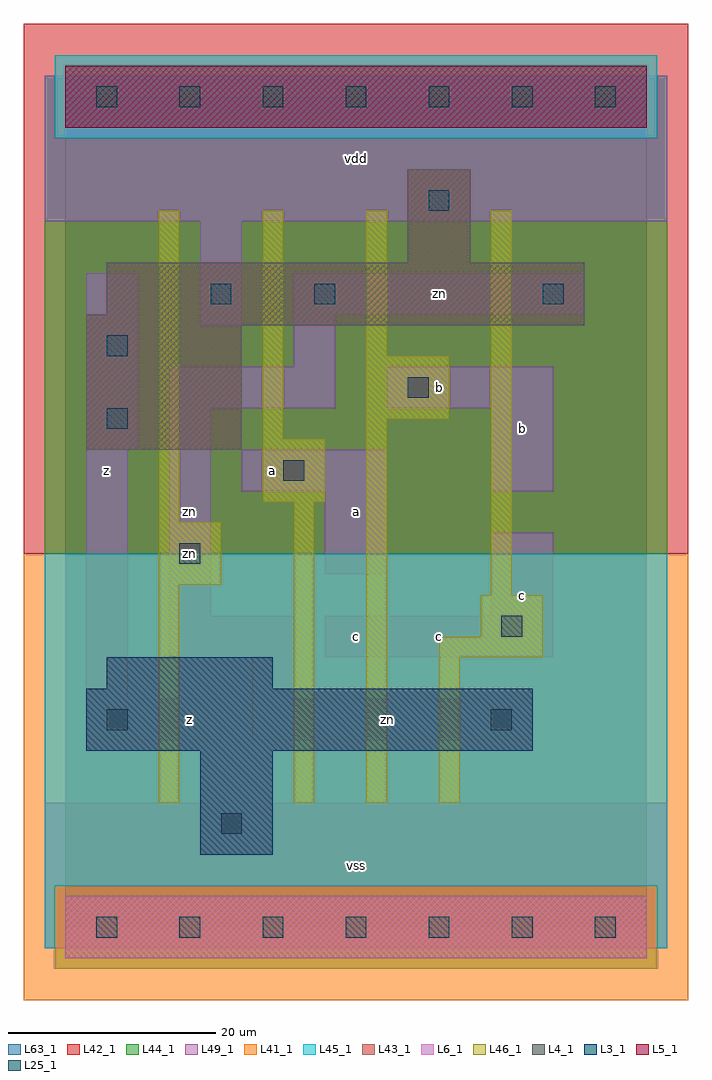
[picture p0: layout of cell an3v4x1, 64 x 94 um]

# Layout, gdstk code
import gdstk
lib = gdstk.Library(unit=1e-6, precision=1e-09)
def R(c, l, rs):  # rectangles x0, y0, x1, y1
    for r in rs: c.add(gdstk.rectangle(r[:2], r[2:], *l))
def A(c, l, x, y, w, h, nx, ny, dx, dy):  # array of equal rectangles
    R(c, l, [(x+i*dx, y+j*dy, x+i*dx+w, y+j*dy+h) for i in range(nx) for j in range(ny)])
L3_1 = (3, 1)
L4_1 = (4, 1)
L5_1 = (5, 1)
L6_1 = (6, 1)
L25_1 = (25, 1)
L41_1 = (41, 1)
L42_1 = (42, 1)
L43_1 = (43, 1)
L44_1 = (44, 1)
L45_1 = (45, 1)
L46_1 = (46, 1)
L49_1 = (49, 1)
L63_1 = (63, 1)

an3v4x1 = lib.new_cell('an3v4x1')
R(an3v4x1, L3_1, [(13,7,20,17), (2,17,45,23), (4,23,20,26)])
R(an3v4x1, L4_1, [(2,46,17,58), (2,58,50,59), (4,59,50,64), (33,64,39,73)])
R(an3v4x1, L5_1, [(0,77,56,83)])
R(an3v4x1, L6_1, [(0,-3,56,3), (0,-3,56,3)])
A(an3v4x1, L25_1, 3, -1, 2, 2, 7, 2, 8, 80)
R(an3v4x1, L25_1, [(15,9,17,11), (4,19,6,21), (41,19,43,21), (42,28,44,30), (11,35,13,37), (21,43,23,45), (4,48,6,50), (33,51,35,53), (4,55,6,57), (14,60,16,62), (24,60,26,62), (46,60,48,62), (35,69,37,71)])
R(an3v4x1, L41_1, [(-4,-7,60,36)])
R(an3v4x1, L42_1, [(-4,36,60,87)])
R(an3v4x1, L43_1, [(0,-3,56,3), (13,7,20,17), (2,17,45,23), (4,23,20,26), (2,46,17,58), (2,58,50,59), (4,59,50,64), (33,64,39,73), (0,77,56,83)])
R(an3v4x1, L44_1, [(-1,-4,57,4), (-2,36,58,76), (-2,76,-1,82), (57,76,58,82)])
R(an3v4x1, L45_1, [(-2,-2,-1,4), (57,-2,58,4), (-2,4,58,36), (-1,76,57,84)])
R(an3v4x1, L46_1, [(9,12,11,33), (22,12,24,41), (29,12,31,49), (36,12,38,26), (36,26,46,28), (40,28,46,32), (41,32,43,69), (9,33,15,39), (9,39,11,69), (19,41,25,47), (19,47,21,69), (29,49,37,55), (29,55,31,69)])
R(an3v4x1, L49_1, [(-2,-2,58,12), (2,18,15,22), (18,18,45,22), (2,22,6,46), (18,22,22,26), (10,26,22,30), (25,26,47,30), (10,30,14,50), (41,30,47,38), (25,34,31,42), (17,42,31,46), (41,42,47,50), (2,46,7,63), (10,50,26,54), (31,50,47,54), (22,54,26,59), (13,58,17,68), (22,59,50,63), (-2,68,58,82)])
R(an3v4x1, L63_1, [(0,0,56,80)])
an3v4x1.add(gdstk.Label('zn', (12,36), layer=49, texttype=1))
an3v4x1.add(gdstk.Label('z', (4,44), layer=49, texttype=1))
an3v4x1.add(gdstk.Label('z', (12,20), layer=49, texttype=1))
an3v4x1.add(gdstk.Label('a', (20,44), layer=49, texttype=1))
an3v4x1.add(gdstk.Label('zn', (12,40), layer=49, texttype=1))
an3v4x1.add(gdstk.Label('vss', (28,6), layer=49, texttype=1))
an3v4x1.add(gdstk.Label('c', (28,28), layer=49, texttype=1))
an3v4x1.add(gdstk.Label('c', (36,28), layer=49, texttype=1))
an3v4x1.add(gdstk.Label('a', (28,40), layer=49, texttype=1))
an3v4x1.add(gdstk.Label('b', (36,52), layer=49, texttype=1))
an3v4x1.add(gdstk.Label('vdd', (28,74), layer=49, texttype=1))
an3v4x1.add(gdstk.Label('zn', (31,20), layer=49, texttype=1))
an3v4x1.add(gdstk.Label('c', (44,32), layer=49, texttype=1))
an3v4x1.add(gdstk.Label('b', (44,48), layer=49, texttype=1))
an3v4x1.add(gdstk.Label('zn', (36,61), layer=49, texttype=1))

lib.write_gds('an3v4x1.gds')
